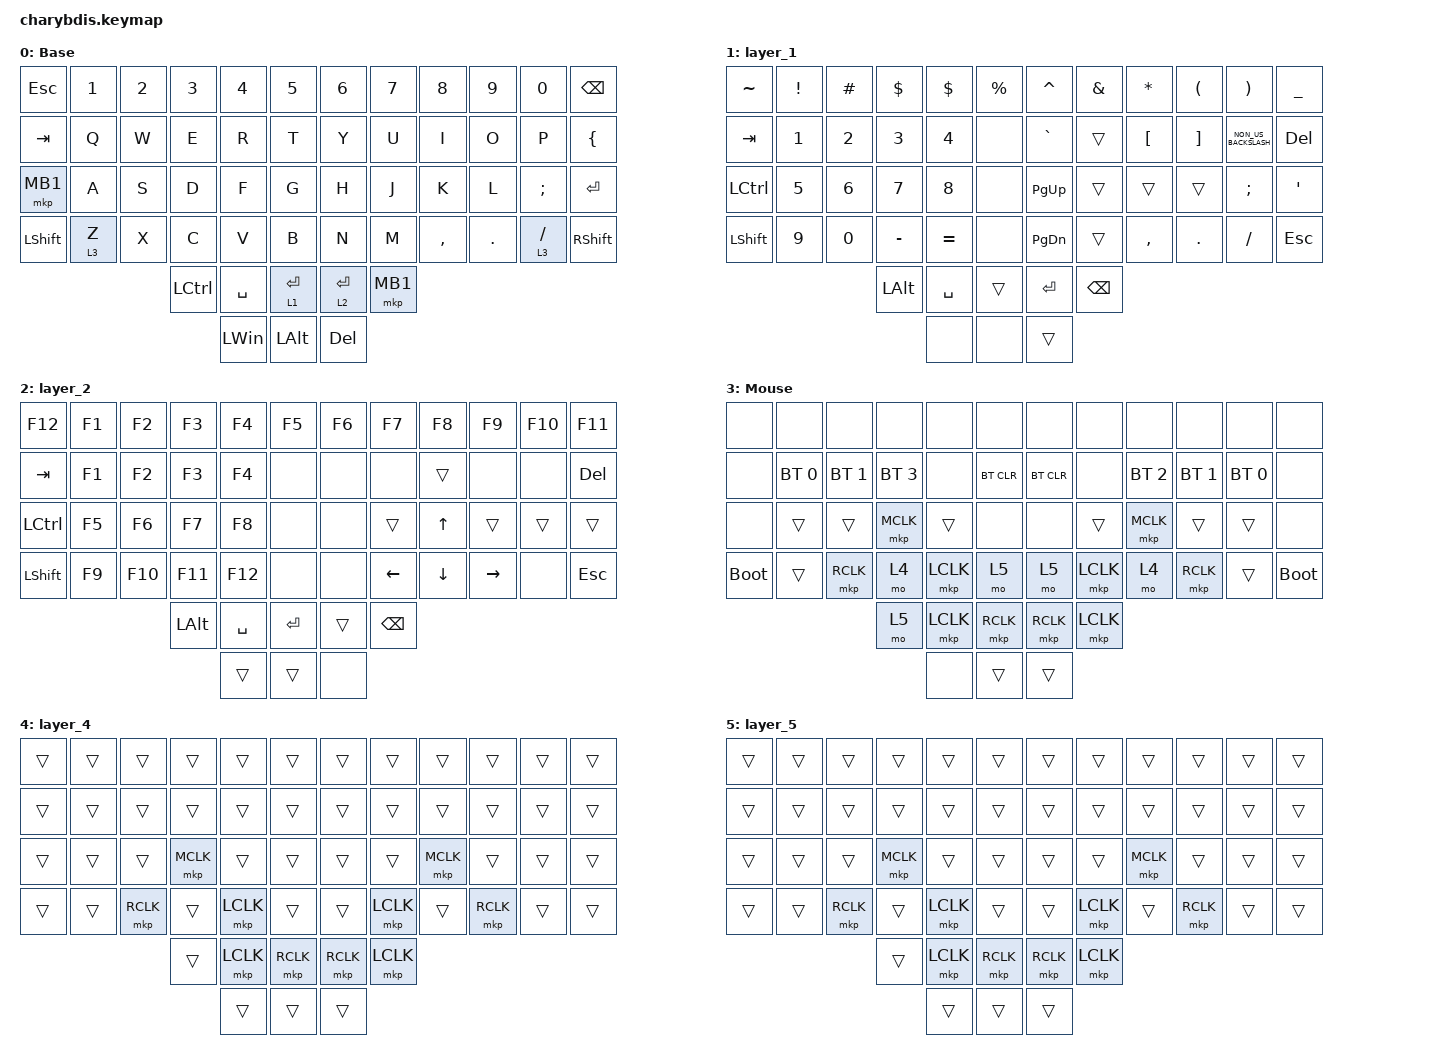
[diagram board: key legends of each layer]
#include <behaviors.dtsi>
#include <dt-bindings/zmk/bt.h>
#include <dt-bindings/zmk/keys.h>
#include <dt-bindings/zmk/mouse.h>

&lt {
    tapping-term-ms = <200>;
    flavor = "balanced";
    quick-tap-ms = <150>;
};

/ {
    keymap {
        compatible = "zmk,keymap";

        Base {
            bindings = <
&kp ESC         &kp N1   &kp N2  &kp N3            &kp N4        &kp N5          &kp N6       &kp N7    &kp N8     &kp N9   &kp N0       &kp BSPC
&kp TAB         &kp Q    &kp W   &kp E             &kp R         &kp T           &kp Y        &kp U     &kp I      &kp O    &kp P        &kp LEFT_BRACE
&mkp MB1        &kp A    &kp S   &kp D             &kp F         &kp G           &kp H        &kp J     &kp K      &kp L    &kp SEMI     &kp ENTER
&kp LEFT_SHIFT  &lt 3 Z  &kp X   &kp C             &kp V         &kp B           &kp N        &kp M     &kp COMMA  &kp DOT  &lt 3 SLASH  &kp RIGHT_SHIFT
                                 &kp LEFT_CONTROL  &kp SPACE     &lt 1 ENTER     &lt 2 ENTER  &mkp MB1
                                                   &kp LEFT_WIN  &kp LEFT_ALT    &kp DEL
            >;

            trackball-bindings = <&tmv_coarse>;
        };

        layer_1 {
            bindings = <
&kp TILDE         &kp EXCLAMATION  &kp HASH      &kp DOLLAR    &kp DOLLAR    &kp PERCENT    &kp CARET      &kp AMPERSAND  &kp ASTERISK      &kp LEFT_PARENTHESIS  &kp RIGHT_PARENTHESIS  &kp UNDERSCORE
&kp TAB           &kp NUMBER_1     &kp NUMBER_2  &kp NUMBER_3  &kp NUMBER_4  &none          &kp GRAVE      &trans         &kp LEFT_BRACKET  &kp RIGHT_BRACKET     &kp NON_US_BACKSLASH   &kp DEL
&kp LEFT_CONTROL  &kp NUMBER_5     &kp NUMBER_6  &kp NUMBER_7  &kp NUMBER_8  &none          &kp PAGE_UP    &trans         &trans            &trans                &kp SEMICOLON          &kp SQT
&kp LSHFT         &kp NUMBER_9     &kp NUMBER_0  &kp MINUS     &kp EQUAL     &none          &kp PAGE_DOWN  &trans         &kp COMMA         &kp PERIOD            &kp SLASH              &kp ESC
                                                 &kp LEFT_ALT  &kp SPACE     &trans         &kp ENTER      &kp BACKSPACE
                                                               &none         &none          &trans
            >;
        };

        layer_2 {
            bindings = <
&kp F12           &kp F1  &kp F2   &kp F3        &kp F4     &kp F5       &kp F6  &kp F7         &kp F8    &kp F9     &kp F10  &kp F11
&kp TAB           &kp F1  &kp F2   &kp F3        &kp F4     &none        &none   &none          &trans    &none      &none    &kp DELETE
&kp LEFT_CONTROL  &kp F5  &kp F6   &kp F7        &kp F8     &none        &none   &trans         &kp UP    &trans     &trans   &trans
&kp LEFT_SHIFT    &kp F9  &kp F10  &kp F11       &kp F12    &none        &none   &kp LEFT       &kp DOWN  &kp RIGHT  &none    &kp ESC
                                   &kp LEFT_ALT  &kp SPACE  &kp ENTER    &trans  &kp BACKSPACE
                                                 &trans     &trans       &none
            >;
        };

        Mouse {
            bindings = <
&none        &none         &none         &none         &none      &none         &none       &none      &none         &none         &none         &none
&none        &bt BT_SEL 0  &bt BT_SEL 1  &bt BT_SEL 3  &none      &bt BT_CLR    &bt BT_CLR  &none      &bt BT_SEL 2  &bt BT_SEL 1  &bt BT_SEL 0  &none
&none        &trans        &trans        &mkp MCLK     &trans     &none         &none       &trans     &mkp MCLK     &trans        &trans        &none
&bootloader  &trans        &mkp RCLK     &mo 4         &mkp LCLK  &mo 5         &mo 5       &mkp LCLK  &mo 4         &mkp RCLK     &trans        &bootloader
                                         &mo 5         &mkp LCLK  &mkp RCLK     &mkp RCLK   &mkp LCLK
                                                       &none      &trans        &trans
            >;
        };

        layer_4 {
            bindings = <
&trans  &trans  &trans     &trans     &trans     &trans       &trans     &trans     &trans     &trans     &trans  &trans
&trans  &trans  &trans     &trans     &trans     &trans       &trans     &trans     &trans     &trans     &trans  &trans
&trans  &trans  &trans     &mkp MCLK  &trans     &trans       &trans     &trans     &mkp MCLK  &trans     &trans  &trans
&trans  &trans  &mkp RCLK  &trans     &mkp LCLK  &trans       &trans     &mkp LCLK  &trans     &mkp RCLK  &trans  &trans
                           &trans     &mkp LCLK  &mkp RCLK    &mkp RCLK  &mkp LCLK
                                      &trans     &trans       &trans
            >;

            trackball-bindings = <&tsl>;
        };

        layer_5 {
            bindings = <
&trans  &trans  &trans     &trans     &trans     &trans       &trans     &trans     &trans     &trans     &trans  &trans
&trans  &trans  &trans     &trans     &trans     &trans       &trans     &trans     &trans     &trans     &trans  &trans
&trans  &trans  &trans     &mkp MCLK  &trans     &trans       &trans     &trans     &mkp MCLK  &trans     &trans  &trans
&trans  &trans  &mkp RCLK  &trans     &mkp LCLK  &trans       &trans     &mkp LCLK  &trans     &mkp RCLK  &trans  &trans
                           &trans     &mkp LCLK  &mkp RCLK    &mkp RCLK  &mkp LCLK
                                      &trans     &trans       &trans
            >;

            trackball-bindings = <&tmv_fine>;
        };
    };
};
